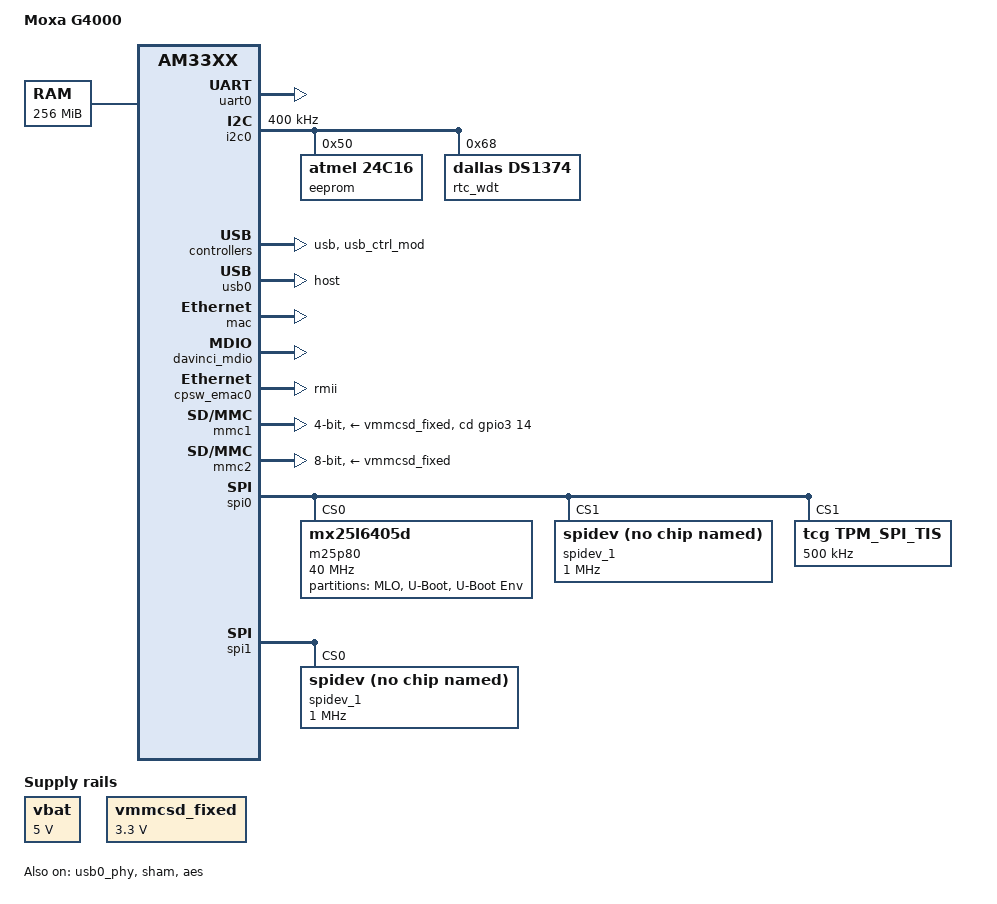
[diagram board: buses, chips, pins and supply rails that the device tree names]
/*
 * Copyright (C) 2018 MOXA Inc. - https://www.moxa.com/
 *
 * Author: Wes Huang (黃淵河) <wes.huang@moxa.com>
 *
 * This program is free software; you can redistribute it and/or modify
 * it under the terms of the GNU General Public License version 2 as
 * published by the Free Software Foundation.
 */

/dts-v1/;

#include "am33xx.dtsi"

/ {
	model = "Moxa G4000";
	compatible = "moxa,g4000", "ti,am33xx";

	memory {
		device_type = "memory";
		reg = <0x80000000 0x10000000>; /* 256 MB */
	};

	vbat: fixedregulator@0 {
		compatible = "regulator-fixed";
	};

	/* Power supply provides a fixed 3.3V @3A */
	vmmcsd_fixed: fixedregulator@1 {
	      compatible = "regulator-fixed";
	      regulator-name = "vmmcsd_fixed";
	      regulator-min-microvolt = <3300000>;
	      regulator-max-microvolt = <3300000>;
	      regulator-boot-on;
	};
};

&am33xx_pinmux {
	pinctrl-names = "default";

	i2c0_pins: pinmux_i2c0_pins {
		pinctrl-single,pins = <
			AM33XX_IOPAD(0x988, PIN_INPUT_PULLUP | MUX_MODE0)    	/* i2c0_sda.i2c0_sda */
			AM33XX_IOPAD(0x98c, PIN_INPUT_PULLUP | MUX_MODE0)    	/* i2c0_scl.i2c0_scl */
		>;
	};

	i2c1_pins: pinmux_i2c1_pins {
		pinctrl-single,pins = <
			AM33XX_IOPAD(0x968, PIN_INPUT_PULLUP | MUX_MODE3)    	/* uart0_ctsn.i2c1_sda */
			AM33XX_IOPAD(0x96c, PIN_INPUT_PULLUP | MUX_MODE3)    	/* uart0_rtsn.i2c1_scl */
		>;
	};

	uart0_pins: pinmux_uart0_pins {
		pinctrl-single,pins = <
			AM33XX_IOPAD(0x970, PIN_INPUT_PULLUP | MUX_MODE0)	/* uart0_rxd.uart0_rxd */
			AM33XX_IOPAD(0x974, PIN_OUTPUT_PULLDOWN | MUX_MODE0)	/* uart0_txd.uart0_txd */
		>;
	};

	uart1_pins: pinmux_uart1_pins {
		pinctrl-single,pins = <
			AM33XX_IOPAD(0x980, PIN_INPUT | MUX_MODE0)	/* uart1_rxd.uart0_rxd */
			AM33XX_IOPAD(0x984, PIN_OUTPUT | MUX_MODE0)	/* uart1_txd.uart0_txd */
			AM33XX_IOPAD(0x978, PIN_INPUT | MUX_MODE0)	/* uart1_ctsn.uart0_ctsn */
			AM33XX_IOPAD(0x97c, PIN_OUTPUT | MUX_MODE0)	/* uart1_rtsn.uart0_rtsn */
		>;
	};

	cpsw_default: cpsw_default {
		pinctrl-single,pins = <
			/* Slave 1 */
			AM33XX_IOPAD(0x914, PIN_OUTPUT | MUX_MODE2)  	/* gmii1_txen.rgmii1_tctl */
			AM33XX_IOPAD(0x918, PIN_INPUT | MUX_MODE2)    	/* gmii1_rxdv.rgmii1_rctl */
			AM33XX_IOPAD(0x92c, PIN_OUTPUT | MUX_MODE2) 	/* gmii1_txclk.rgmii1_tclk */
			AM33XX_IOPAD(0x930, PIN_INPUT | MUX_MODE2) 	/* gmii1_rxclk.rgmii1_rclk */
			AM33XX_IOPAD(0x928, PIN_OUTPUT | MUX_MODE2) 	/* gmii1_txd0.rgmii1_td0 */
			AM33XX_IOPAD(0x924, PIN_OUTPUT | MUX_MODE2)    	/* gmii1_txd1.rgmii1_td1 */
			AM33XX_IOPAD(0x920, PIN_OUTPUT | MUX_MODE2)    	/* gmii1_txd2.rgmii1_td2 */
			AM33XX_IOPAD(0x91c, PIN_OUTPUT | MUX_MODE2)  	/* gmii1_txd3.rgmii1_td3 */
			AM33XX_IOPAD(0x940, PIN_INPUT | MUX_MODE2)  	/* gmii1_rxd0.rgmii1_rd0 */
			AM33XX_IOPAD(0x93c, PIN_INPUT | MUX_MODE2)  	/* gmii1_rxd1.rgmii1_rd1 */
			AM33XX_IOPAD(0x938, PIN_INPUT | MUX_MODE2)  	/* gmii1_rxd2.rgmii1_rd2 */
			AM33XX_IOPAD(0x934, PIN_INPUT | MUX_MODE2)  	/* gmii1_rxd3.rgmii1_rd3 */
		>;
	};

	davinci_mdio_default: davinci_mdio_default {
		pinctrl-single,pins = <
			/* MDIO */
			AM33XX_IOPAD(0x948, PIN_INPUT_PULLUP | SLEWCTRL_FAST | MUX_MODE0)	/* mdio_data.mdio_data */
			AM33XX_IOPAD(0x94c, PIN_OUTPUT_PULLUP | MUX_MODE0)			/* mdio_clk.mdio_clk */
		>;
	};

	mmc0_pins_default: pinmux_mmc0_pins {
		pinctrl-single,pins = <
			/* Micro SD card */
			AM33XX_IOPAD(0x8f0, PIN_INPUT_PULLUP | MUX_MODE0)	/* mmc0_dat3.mmc0_dat3 */
			AM33XX_IOPAD(0x8f4, PIN_INPUT_PULLUP | MUX_MODE0)	/* mmc0_dat2.mmc0_dat2 */
			AM33XX_IOPAD(0x8f8, PIN_INPUT_PULLUP | MUX_MODE0)	/* mmc0_dat1.mmc0_dat1 */
			AM33XX_IOPAD(0x8fc, PIN_INPUT_PULLUP | MUX_MODE0)	/* mmc0_dat0.mmc0_dat0 */
			AM33XX_IOPAD(0x900, PIN_INPUT_PULLUP | MUX_MODE0)	/* mmc0_clk.mmc0_clk */
			AM33XX_IOPAD(0x904, PIN_INPUT_PULLUP | MUX_MODE0)	/* mmc0_cmd.mmc0_cmd */
			AM33XX_IOPAD(0x990, PIN_INPUT_PULLUP | MUX_MODE7)	/* mcasp0_aclkx.mmc0_sdcd */
/*			AM33XX_IOPAD(0x944, PIN_OUTPUT_PULLDOWN | MUX_MODE5)	/* rmii1_refclk.mmc0_pow */ 
		>;
	};

	mmc1_pins_default: pinmux_mmc1_pins {
		pinctrl-single,pins = <
			/* eMMC */
			AM33XX_IOPAD(0x800, PIN_INPUT_PULLUP | MUX_MODE1)	/* gpmc_ad12.mmc1_dat0 */
			AM33XX_IOPAD(0x804, PIN_INPUT_PULLUP | MUX_MODE1)	/* gpmc_ad13.mmc1_dat1 */
			AM33XX_IOPAD(0x808, PIN_INPUT_PULLUP | MUX_MODE1)	/* gpmc_ad14.mmc1_dat2 */
			AM33XX_IOPAD(0x80c, PIN_INPUT_PULLUP | MUX_MODE1)	/* gpmc_ad15.mmc1_dat3 */
			AM33XX_IOPAD(0x810, PIN_INPUT_PULLUP | MUX_MODE1)	/* gpmc_ad8.mmc1_dat4 */
			AM33XX_IOPAD(0x814, PIN_INPUT_PULLUP | MUX_MODE1)	/* gpmc_ad9.mmc1_dat5 */
			AM33XX_IOPAD(0x818, PIN_INPUT_PULLUP | MUX_MODE1)	/* gpmc_ad10.mmc1_dat6 */
			AM33XX_IOPAD(0x81c, PIN_INPUT_PULLUP | MUX_MODE1)	/* gpmc_ad11.mmc1_dat7 */
			AM33XX_IOPAD(0x884, PIN_INPUT_PULLUP | MUX_MODE2)	/* gpmc_csn2.mmc1_cmd */
			AM33XX_IOPAD(0x880, PIN_INPUT_PULLUP | MUX_MODE2)	/* gpmc_csn1.mmc1_clk */
		>;
	};

	spi0_pins: pinmux_spi0 {
		pinctrl-single,pins = <
			AM33XX_IOPAD(0x950, PIN_INPUT_PULLUP | MUX_MODE0)	 /* spi0_sclk.spi0_sclk */
			AM33XX_IOPAD(0x954, PIN_INPUT_PULLUP | MUX_MODE0)	 /* spi0_d0.spi0_d0 */
			AM33XX_IOPAD(0x958, PIN_INPUT_PULLUP | MUX_MODE0)	 /* spi0_d1.spi0_d1 */
			AM33XX_IOPAD(0x95c, PIN_INPUT_PULLUP | MUX_MODE0)	 /* spi0_cs0.spi0_cs0 */
			AM33XX_IOPAD(0x960, PIN_INPUT_PULLUP | MUX_MODE0)        /* spi0_cs1.spi0_cs1 */
		>;
	};

	spi1_pins: pinmux_spi1 {
		pinctrl-single,pins = <
			AM33XX_IOPAD(0x908, PIN_INPUT | MUX_MODE2)	 	/* gmii1_col.spi1_sclk */
			AM33XX_IOPAD(0x90c, PIN_INPUT | MUX_MODE2)	 	/* gmii1_crs.spi1_d0 */
			AM33XX_IOPAD(0x910, PIN_INPUT | MUX_MODE2)	 	/* gmii1_rxer.spi1_d1 */
			AM33XX_IOPAD(0x99c, PIN_INPUT_PULLUP | MUX_MODE3)	/* mcasp0_ahclkr.spi1_cs0 */
		>;
	};
};

&uart0 {
	/* Console */
	status = "okay";
	pinctrl-names = "default";
	pinctrl-0 = <&uart0_pins>;
};

&i2c0 {
	pinctrl-names = "default";
	pinctrl-0 = <&i2c0_pins>;

	status = "okay";
	clock-frequency = <400000>;

	eeprom: eeprom@50 {
		compatible = "atmel,24c16";
		pagesize = <16>;
		reg = <0x50>;
	};

	rtc_wdt: rtc_wdt@68 {
		compatible = "dallas,ds1374";
		reg = <0x68>;
	};
};

&usb {
	status = "okay";
};

&usb_ctrl_mod {
	status = "okay";
};

&usb0_phy {
	status = "okay";
};

&usb0 {
	status = "okay";
	dr_mode = "host";
};

&cppi41dma  {
	status = "okay";
};

/* Power */
&vbat {
	regulator-name = "vbat";
	regulator-min-microvolt = <5000000>;
	regulator-max-microvolt = <5000000>;
};

&mac {
	pinctrl-names = "default";
	pinctrl-0 = <&cpsw_default>;
	status = "okay";
};

&davinci_mdio {
	pinctrl-names = "default";
	pinctrl-0 = <&davinci_mdio_default>;
	status = "okay";
};

&cpsw_emac0 {
	status = "okay";
	phy_id = <&davinci_mdio>, <0x4>;
	phy-mode = "rmii";
};

&cpsw_emac1 {
	status = "disable";
};

&phy_sel {
	reg= <0x44e10650 0xf5>;
	rmii-clock-ext;
};

&sham {
	status = "okay";
};

&aes {
	status = "okay";
};

&gpio0 {
	ti,no-reset-on-init;
};

&mmc1 {
	pinctrl-names = "default";
	vmmc-supply = <&vmmcsd_fixed>;
	bus-width = <4>;
	pinctrl-0 = <&mmc0_pins_default>;
	cd-gpios = <&gpio3 14 GPIO_ACTIVE_HIGH>;
	status = "okay";
};

&mmc2 {
	pinctrl-names = "default";
	vmmc-supply = <&vmmcsd_fixed>;
	bus-width = <8>;
	pinctrl-0 = <&mmc1_pins_default>;
	ti,non-removable;
	status = "okay";
};

/* SPI Busses */
&spi0 {
	status = "okay";
	pinctrl-names = "default";
	pinctrl-0 = <&spi0_pins>;

	m25p80@0 {
		compatible = "mx25l6405d";
		spi-max-frequency = <40000000>;

		reg = <0>;
		spi-cpol;
		spi-cpha;

		partitions {
	                compatible = "fixed-partitions";
	                #address-cells = <1>;
	                #size-cells = <1>;

			/* reg : The partition's offset and size within the mtd bank. */
			partitions@0 {
				label = "MLO";
				reg = <0x0 0x80000>;
			};

			partitions@1 {
				label = "U-Boot";
				reg = <0x80000 0x100000>;
			};

			partitions@2 {
				label = "U-Boot Env";
				reg = <0x180000 0x40000>;
			};
	        };
	};

	spidev_1 {
		compatible = "spidev";
		reg = <1>;
		spi-max-frequency = <1000000>;
	};

	tpm_spi_tis@1{
		compatible = "tcg,tpm_spi_tis";
		reg = <1>;
		spi-max-frequency = <500000>;
	};
};

&spi1{
	status = "okay";
	pinctrl-names = "default";
	pinctrl-0 = <&spi1_pins>;
	spidev_1 {
		compatible = "spidev";
		reg = <0>;
		spi-cpha;                         /* SPI mode: CPHA=1 */
		spi-cpol;                         /* SPI mode: CPOL=1 */
		spi-max-frequency = <1000000>;
	};
};
